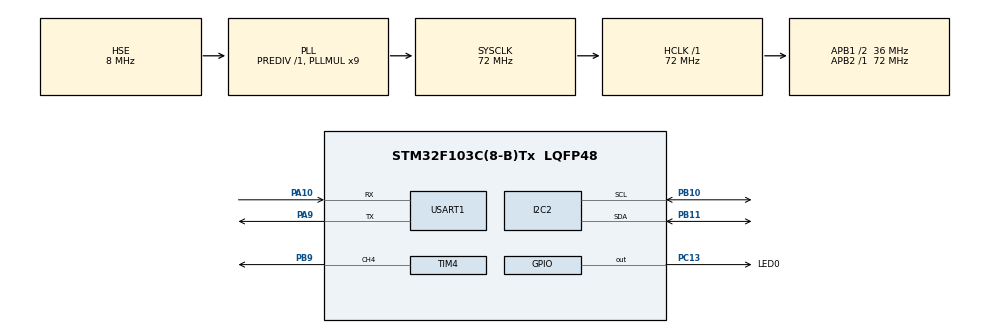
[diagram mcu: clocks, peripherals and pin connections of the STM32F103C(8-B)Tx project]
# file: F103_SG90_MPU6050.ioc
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I2C2.I2C_Mode=I2C_Fast
Mcu.Family=STM32F1
Mcu.Name=STM32F103C(8-B)Tx
Mcu.Package=LQFP48
NVIC.PriorityGroup=NVIC_PRIORITYGROUP_4
PA10.Mode=Asynchronous
PA10.Signal=USART1_RX
PA13.Mode=Serial_Wire
PA13.Signal=SYS_JTMS-SWDIO
PA14.Mode=Serial_Wire
PA14.Signal=SYS_JTCK-SWCLK
PA9.Mode=Asynchronous
PA9.Signal=USART1_TX
PB10.Mode=I2C
PB10.Signal=I2C2_SCL
PB11.Mode=I2C
PB11.Signal=I2C2_SDA
PB9.Signal=S_TIM4_CH4
PC13-TAMPER-RTC.GPIO_Label=LED0
PC13-TAMPER-RTC.Signal=GPIO_Output
PD0-OSC_IN.Mode=HSE-External-Oscillator
PD0-OSC_IN.Signal=RCC_OSC_IN
PD1-OSC_OUT.Mode=HSE-External-Oscillator
PD1-OSC_OUT.Signal=RCC_OSC_OUT
ProjectManager.HeapSize=0x200
ProjectManager.StackSize=0x400
ProjectManager.TargetToolchain=MDK-ARM V5.32
RCC.AHBFreq_Value=72000000
RCC.APB1CLKDivider=RCC_HCLK_DIV2
RCC.APB1Freq_Value=36000000
RCC.APB1TimFreq_Value=72000000
RCC.APB2Freq_Value=72000000
RCC.APB2TimFreq_Value=72000000
RCC.HCLKFreq_Value=72000000
RCC.PLLMUL=RCC_PLL_MUL9
RCC.PLLSourceVirtual=RCC_PLLSOURCE_HSE
RCC.SYSCLKFreq_VALUE=72000000
RCC.SYSCLKSource=RCC_SYSCLKSOURCE_PLLCLK
RCC.USBFreq_Value=72000000
SH.S_TIM4_CH4.0=TIM4_CH4,PWM Generation4 CH4
TIM4.Channel-PWM\ Generation4\ CH4=TIM_CHANNEL_4
TIM4.Period=20000-1
TIM4.Prescaler=72-1
USART1.VirtualMode=VM_ASYNC
board=custom

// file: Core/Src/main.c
/* USER CODE BEGIN Header */
/**
  ******************************************************************************
  * @file           : main.c
  * @brief          : Main program body
  ******************************************************************************
  * @attention
  *
  * Copyright (c) 2023 STMicroelectronics.
  * All rights reserved.
  *
  * This software is licensed under terms that can be found in the LICENSE file
  * in the root directory of this software component.
  * If no LICENSE file comes with this software, it is provided AS-IS.
  *
  ******************************************************************************
  */
/* USER CODE END Header */
#include "main.h"
#include "i2c.h"
#include "tim.h"
#include "usart.h"
#include "gpio.h"

/* USER CODE BEGIN Includes */

#include "stdio.h"
#include "math.h"
#include "string.h"
#include "mpu6050.h"

/* USER CODE END Includes */

void SystemClock_Config(void);

/* USER CODE BEGIN 0 */

////////////////数据采集

extern Kalman_t KalmanX, KalmanY;
double anlge_x = 0;
double anlge_y = 0;
double anlge_z = 0;
double angle_x0 = 0;//测试用
double angle_y0 = 0;
double angle_z0 = 0;

double gyro_x = 0;
double gyro_y = 0;
double gyro_z = 0;

    MPU6050_t mpu6050;

void GetGyroOffsets(float* gyroX_offset, float* gyroY_offset, float* gyroZ_offset) {

    float x = 0;
    float y = 0;
    float z = 0;

	    MPU6050_Read_All(&hi2c2, &mpu6050);

    for(int i = 0; i < 1000; i++) { // 读取2000次数据求平均值
        MPU6050_Read_All(&hi2c2, &mpu6050);
        x += mpu6050.Gx;
        y += mpu6050.Gy;
        z += mpu6050.Gz;
        HAL_Delay(1);
    }
    *gyroX_offset = x / 1000;
    *gyroY_offset = y / 1000;
    *gyroZ_offset = z / 1000;
}

void SG90_Mpu6050_View(double angle_x){//直接输出

	__HAL_TIM_SET_COMPARE(&htim4,TIM_CHANNEL_4,angle_x*1000+1500);

}

void SG90_Mpu6050_Angle(double angle_x){//角度输出

	double result = (angle_x+180) * (2000.0/360.0) + 500;

	__HAL_TIM_SET_COMPARE(&htim4,TIM_CHANNEL_4,result);

}

#ifdef __GNUC__
#define PUTCHAR_PROTOTYPE int __io_putchar(int ch)
#else
#define PUTCHAR_PROTOTYPE int fputc(int ch, FILE *f)
#endif
PUTCHAR_PROTOTYPE
{
	HAL_UART_Transmit(&huart1 , (uint8_t *)&ch, 1, 0xFFFF);
	return ch;
}

void SG90_Test()
	{
		int delay_sg90_test=1000; //循环时间间隔1s

      //★舵机指向0°
      __HAL_TIM_SET_COMPARE(&htim4,TIM_CHANNEL_4,500); //相当于一个周期内（20ms）有0.5ms高脉冲
      HAL_Delay(delay_sg90_test);
		//★舵机指向90°
      __HAL_TIM_SET_COMPARE(&htim4,TIM_CHANNEL_4,1500); //相当于一个周期内（20ms）有0.5ms高脉冲
      HAL_Delay(delay_sg90_test);
      //★舵机指向180°
      __HAL_TIM_SET_COMPARE(&htim4,TIM_CHANNEL_4,2500); //相当于一个周期内（20ms）有2.5ms高脉冲
      HAL_Delay(delay_sg90_test);

}

/* USER CODE END 0 */

int main(void)
{
  /* USER CODE BEGIN 1 */

	float gyroX_offset = 0;
	float gyroY_offset = 0;
	float gyroZ_offset = 0;

  /* USER CODE END 1 */

  /* MCU Configuration--------------------------------------------------------*/

  /* Reset of all peripherals, Initializes the Flash interface and the Systick. */
  HAL_Init();

  /* Configure the system clock */
  SystemClock_Config();

  /* Initialize all configured peripherals */
  MX_GPIO_Init();
  MX_TIM4_Init();
  MX_I2C2_Init();
  MX_USART1_UART_Init();
  /* USER CODE BEGIN 2 */

	HAL_TIM_PWM_Start(&htim4, TIM_CHANNEL_4);

	MPU6050_Init(&hi2c2);//陀螺仪初始化
	GetGyroOffsets(&gyroX_offset, &gyroY_offset, &gyroZ_offset);//零漂处理
	HAL_GPIO_WritePin(LED0_GPIO_Port, LED0_Pin, GPIO_PIN_RESET);//初始化完成

  /* USER CODE END 2 */

  /* Infinite loop */
  while (1)
  {

    /* USER CODE BEGIN 3 */
		/////////////////////////////////////////

		// Read MPU6050 data
    MPU6050_Read_All(&hi2c2, &mpu6050);

		mpu6050.Gx -= gyroX_offset;
    mpu6050.Gy -= gyroY_offset;
    mpu6050.Gz -= gyroZ_offset;

		// Calculate Kalman angle for X and Y
//		anlge_x = Kalman_getAngle(&KalmanX, anlge_x, mpu6050.Gx, 0.01);
		anlge_y = Kalman_getAngle(&KalmanY, mpu6050.Ay, mpu6050.Gy, 0.02);
		angle_y0= mpu6050.Gy*0.02+angle_y0;

		// Print Kalman angles to console
//		printf("Kalman X angle = %lf\r\n", anlge_x);
//		printf("Kalman Y angle = %lf\r\n", anlge_y);

//		printf("channels: 1.386578,0.977929,-0.628913,-0.942729\n");
		printf("Kalman Y angle : %lf,%lf\r\n",anlge_y,angle_y0);

		////////////////////////////////////////
//		SG90_Test();
		SG90_Mpu6050_Angle(anlge_y);
//		SG90_Mpu6050_View(mpu6050.Ay);
//		printf("[main] tofo : aaa");

  }
  /* USER CODE END 3 */
}

void SystemClock_Config(void)
{
  RCC_OscInitTypeDef RCC_OscInitStruct = {0};
  RCC_ClkInitTypeDef RCC_ClkInitStruct = {0};

  /** Initializes the RCC Oscillators according to the specified parameters
  * in the RCC_OscInitTypeDef structure.
  */
  RCC_OscInitStruct.OscillatorType = RCC_OSCILLATORTYPE_HSE;
  RCC_OscInitStruct.HSEState = RCC_HSE_ON;
  RCC_OscInitStruct.HSEPredivValue = RCC_HSE_PREDIV_DIV1;
  RCC_OscInitStruct.HSIState = RCC_HSI_ON;
  RCC_OscInitStruct.PLL.PLLState = RCC_PLL_ON;
  RCC_OscInitStruct.PLL.PLLSource = RCC_PLLSOURCE_HSE;
  RCC_OscInitStruct.PLL.PLLMUL = RCC_PLL_MUL9;
  if (HAL_RCC_OscConfig(&RCC_OscInitStruct) != HAL_OK)
  {
    Error_Handler();
  }

  /** Initializes the CPU, AHB and APB buses clocks
  */
  RCC_ClkInitStruct.ClockType = RCC_CLOCKTYPE_HCLK|RCC_CLOCKTYPE_SYSCLK
                              |RCC_CLOCKTYPE_PCLK1|RCC_CLOCKTYPE_PCLK2;
  RCC_ClkInitStruct.SYSCLKSource = RCC_SYSCLKSOURCE_PLLCLK;
  RCC_ClkInitStruct.AHBCLKDivider = RCC_SYSCLK_DIV1;
  RCC_ClkInitStruct.APB1CLKDivider = RCC_HCLK_DIV2;
  RCC_ClkInitStruct.APB2CLKDivider = RCC_HCLK_DIV1;

  if (HAL_RCC_ClockConfig(&RCC_ClkInitStruct, FLASH_LATENCY_2) != HAL_OK)
  {
    Error_Handler();
  }
}

void Error_Handler(void)
{
  __disable_irq();
  while (1)
  {
  }
}
